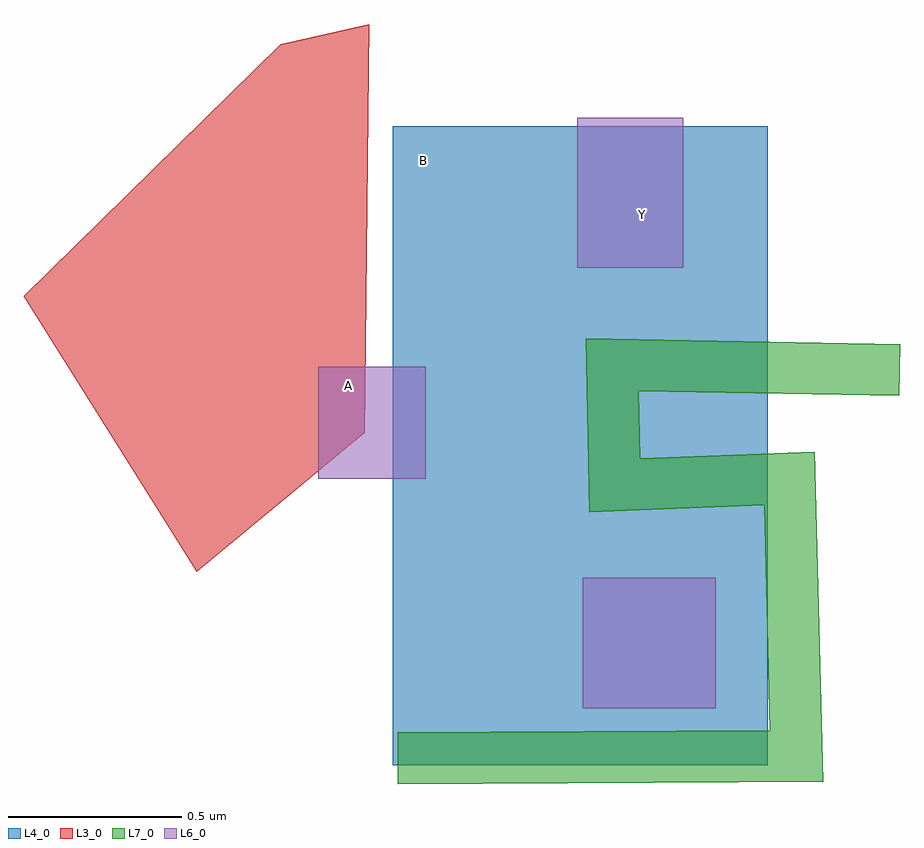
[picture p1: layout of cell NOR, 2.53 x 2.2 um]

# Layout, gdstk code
import gdstk
lib = gdstk.Library(unit=1e-6, precision=1e-09)
def R(c, l, rs):  # rectangles x0, y0, x1, y1
    for r in rs: c.add(gdstk.rectangle(r[:2], r[2:], *l))
def P(c, l, *ps):  # polygons
    for p in ps: c.add(gdstk.Polygon(p, *l))
L3_0 = (3, 0)
L4_0 = (4, 0)
L6_0 = (6, 0)
L7_0 = (7, 0)

nor = lib.new_cell('NOR')
P(nor, L3_0, [(0.499,0.613),(0,1.408),(0.742,2.136),(0.998,2.195),(0.985,1.014)])
R(nor, L4_0, [(1.065,0.054,2.149,1.899)])
R(nor, L6_0, [(1.615,0.218,1.998,0.596), (0.851,0.882,1.161,1.205), (1.598,1.491,1.905,1.924)])
nor.add(gdstk.FlexPath([(2.455,1.197),(1.7,1.211),(1.707,0.863),(2.212,0.882),(2.232,0.081),(1.155,0.075)], 0.15, ends="extended", simple_path=True, layer=7, datatype=0))  # L7_0
nor.add(gdstk.Label('B', (1.155,1.801), layer=4, texttype=0))
nor.add(gdstk.Label('A', (0.939,1.151), layer=6, texttype=0))
nor.add(gdstk.Label('Y', (1.786,1.644), layer=6, texttype=0))

lib.write_gds('NOR.gds')
